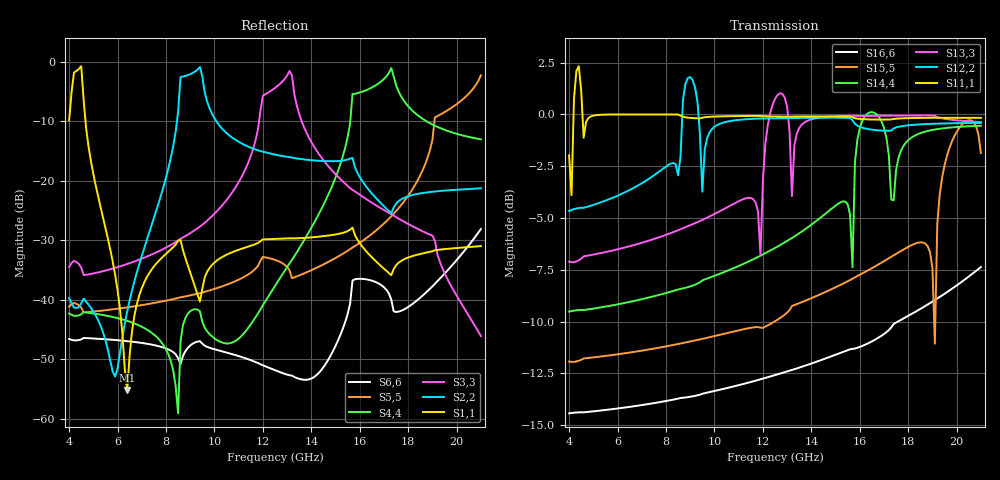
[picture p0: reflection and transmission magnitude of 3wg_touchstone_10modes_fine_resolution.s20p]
! S-parameter export from POSTFEKO
! Filename: circular_3wg_10modes_1mm_fine_resolution
! Creation date: 2020-01-15 08:09:58
# Hz S MA R  5.0000000E+01
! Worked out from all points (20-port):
!   171 points, 4 GHz to 21 GHz, reference 50 ohm
!   strongest paths, dB at 4 GHz, 8.2 GHz, 12.5 GHz, 16.8 GHz, 21 GHz:
!     S11,1: -2.0, 0.0, -0.1, -0.2, -0.2
!     S12,2: -4.7, -2.4, -0.2, -0.8, -0.4
!     S13,3: -7.1, -5.7, 0.7, -0.1, -0.4
!     S14,4: -9.5, -8.6, -6.4, -0.1, -0.5
!     S15,5: -11.9, -11.2, -10.0, -7.2, -1.9
!     S16,6: -14.4, -13.8, -12.6, -10.8, -7.4
!   lowest |S11| = -55.2 dB at 6.4 GHz (marker M1), VSWR 1.00, Z = 50.1 + j0.107 ohm
!   |S11| at or under -10 dB: 4.677 GHz to end of sweep
